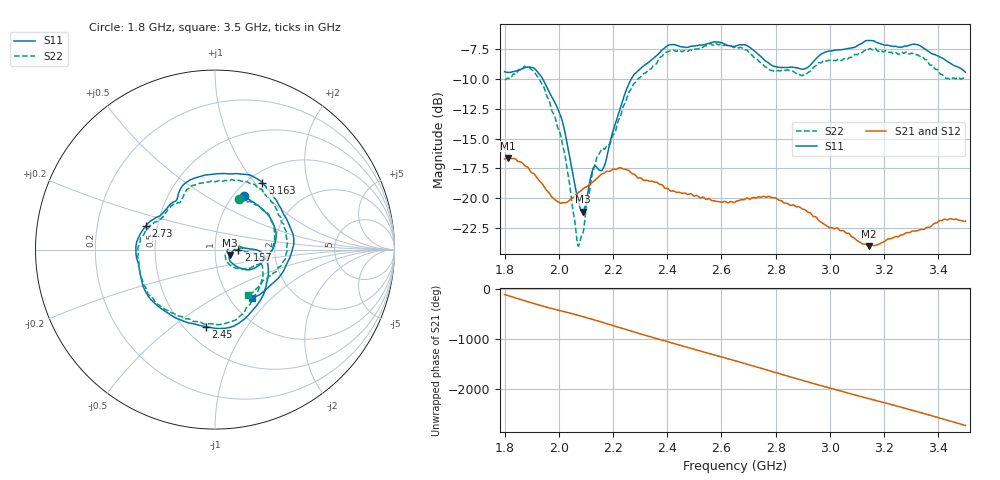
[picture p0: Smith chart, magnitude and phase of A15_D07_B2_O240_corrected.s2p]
! Created with skrf 1.9.0 (http://scikit-rf.org).
# Hz S RI R 50.0
!freq ReS11 ImS11 ReS21 ImS21 ReS12 ImS12 ReS22 ImS22
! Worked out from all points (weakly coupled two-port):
!   1601 points, 1.8 GHz to 3.5 GHz, reference 50 ohm
!   highest |S21| = -16.62 dB at 1.812 GHz (marker M1); lowest = -24.0 dB at 3.143 GHz (marker M2)
!   lowest |S11| = -21.2 dB at 2.089 GHz (marker M3), VSWR 1.19, Z = 58.8 - j3.58 ohm
!   |S11| at or under -10 dB: 1.941 GHz to 2.267 GHz (326.2 MHz wide, 15.5 % of centre)
!   |S22| runs from -24.0 to -7.0 dB; largest |S21 - S12| = 0.0028
!   S11 on the Smith chart (normalised r, x): 1.8 GHz: 1.12, +0.75; 2.157 GHz: 1.30, -0.00; 2.45 GHz: 0.63, -0.66; 2.73 GHz: 0.43, +0.14; 3.163 GHz: 1.16, +1.10; 3.5 GHz: 1.26, -0.76
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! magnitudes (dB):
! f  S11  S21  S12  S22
! 1.8 GHz  -9.4  -16.7  -16.7  -10.0
! 1.812 GHz  -9.4  -16.6  -16.6  -9.9
! 1.88 GHz  -9.0  -17.4  -17.4  -9.0
! 1.942 GHz  -10.1  -18.9  -18.9  -10.6
! 2.011 GHz  -13.4  -20.4  -20.4  -15.3
! 2.067 GHz  -19.8  -19.6  -19.6  -23.5
! 2.084 GHz  -21.1  -19.4  -19.3  -23.2
! 2.089 GHz  -21.2  -19.2  -19.3  -22.9
! 2.127 GHz  -17.5  -18.6  -18.6  -17.6
! 2.157 GHz  -17.7  -18.0  -18.0  -15.9
! 2.262 GHz  -10.2  -17.8  -17.8  -11.0
! 2.367 GHz  -7.9  -18.8  -18.7  -8.3
! 2.45 GHz  -7.3  -19.6  -19.6  -7.7
! 2.65 GHz  -7.2  -20.3  -20.3  -7.3
! 2.73 GHz  -7.8  -20.0  -20.0  -8.3
! 2.807 GHz  -9.0  -20.1  -20.1  -9.3
! 2.934 GHz  -8.7  -21.4  -21.4  -9.2
! 3.143 GHz  -6.8  -24.0  -23.9  -7.5
! 3.163 GHz  -6.8  -24.0  -24.0  -7.5
! 3.217 GHz  -7.2  -23.4  -23.4  -7.8
! 3.326 GHz  -7.1  -22.7  -22.7  -8.0
! 3.5 GHz  -9.4  -21.9  -21.9  -10.0
